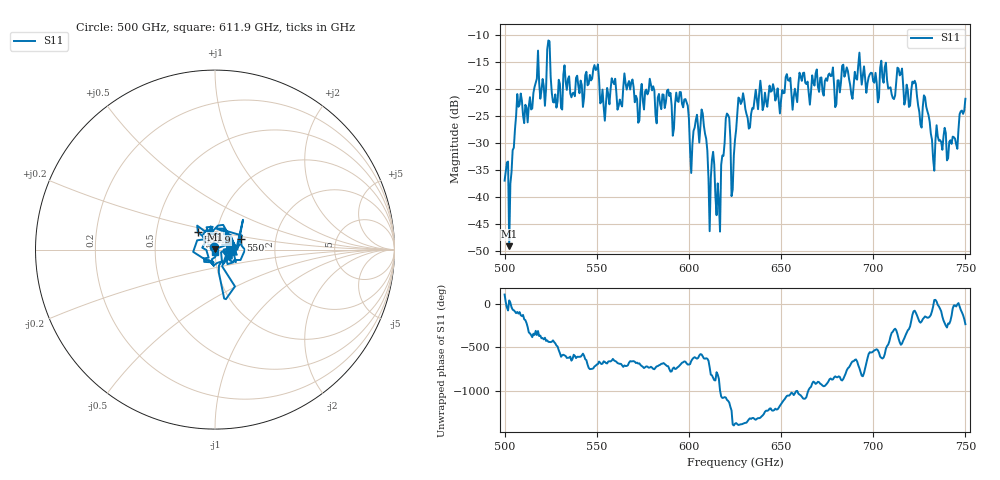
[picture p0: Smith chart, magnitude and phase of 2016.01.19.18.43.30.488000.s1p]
!Created with skrf (http://scikit-rf.org).
# GHz S RI R 50.0
!freq ReS11 ImS11
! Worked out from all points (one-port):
!   401 points, 500 GHz to 750 GHz, reference 50 ohm
!   lowest |S11| = -49.1 dB at 502.5 GHz (marker M1), VSWR 1.01, Z = 50.3 + j0.219 ohm
!   |S11| at or under -10 dB: start of sweep to end of sweep
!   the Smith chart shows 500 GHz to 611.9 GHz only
!   S11 on the Smith chart (normalised r, x): 500 GHz: 0.99, +0.03; 531.9 GHz: 0.81, +0.16; 550 GHz: 1.32, +0.15; 611.9 GHz: 1.00, -0.03
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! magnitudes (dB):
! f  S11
! 500 GHz  -37.0
! 502.5 GHz  -49.1
! 508.1 GHz  -22.9
! 520.6 GHz  -18.1
! 523.8 GHz  -11.0
! 526.9 GHz  -22.5
! 531.2 GHz  -23.8
! 531.9 GHz  -17.3
! 550 GHz  -16.3
! 553.1 GHz  -20.1
! 562.5 GHz  -21.9
! 593.8 GHz  -22.2
! 601.9 GHz  -30.3
! 608.1 GHz  -26.8
! 611.9 GHz  -36.5
! 615.6 GHz  -37.5
! 620.6 GHz  -24.5
! 623.8 GHz  -38.6
! 625 GHz  -29.4
! 628.1 GHz  -22.8
! 656.2 GHz  -23.8
! 687.5 GHz  -19.2
! 714.4 GHz  -17.4
! 718.8 GHz  -20.2
! 728.8 GHz  -23.3
! 732.5 GHz  -33.0
! 745 GHz  -30.2
! 750 GHz  -21.8
